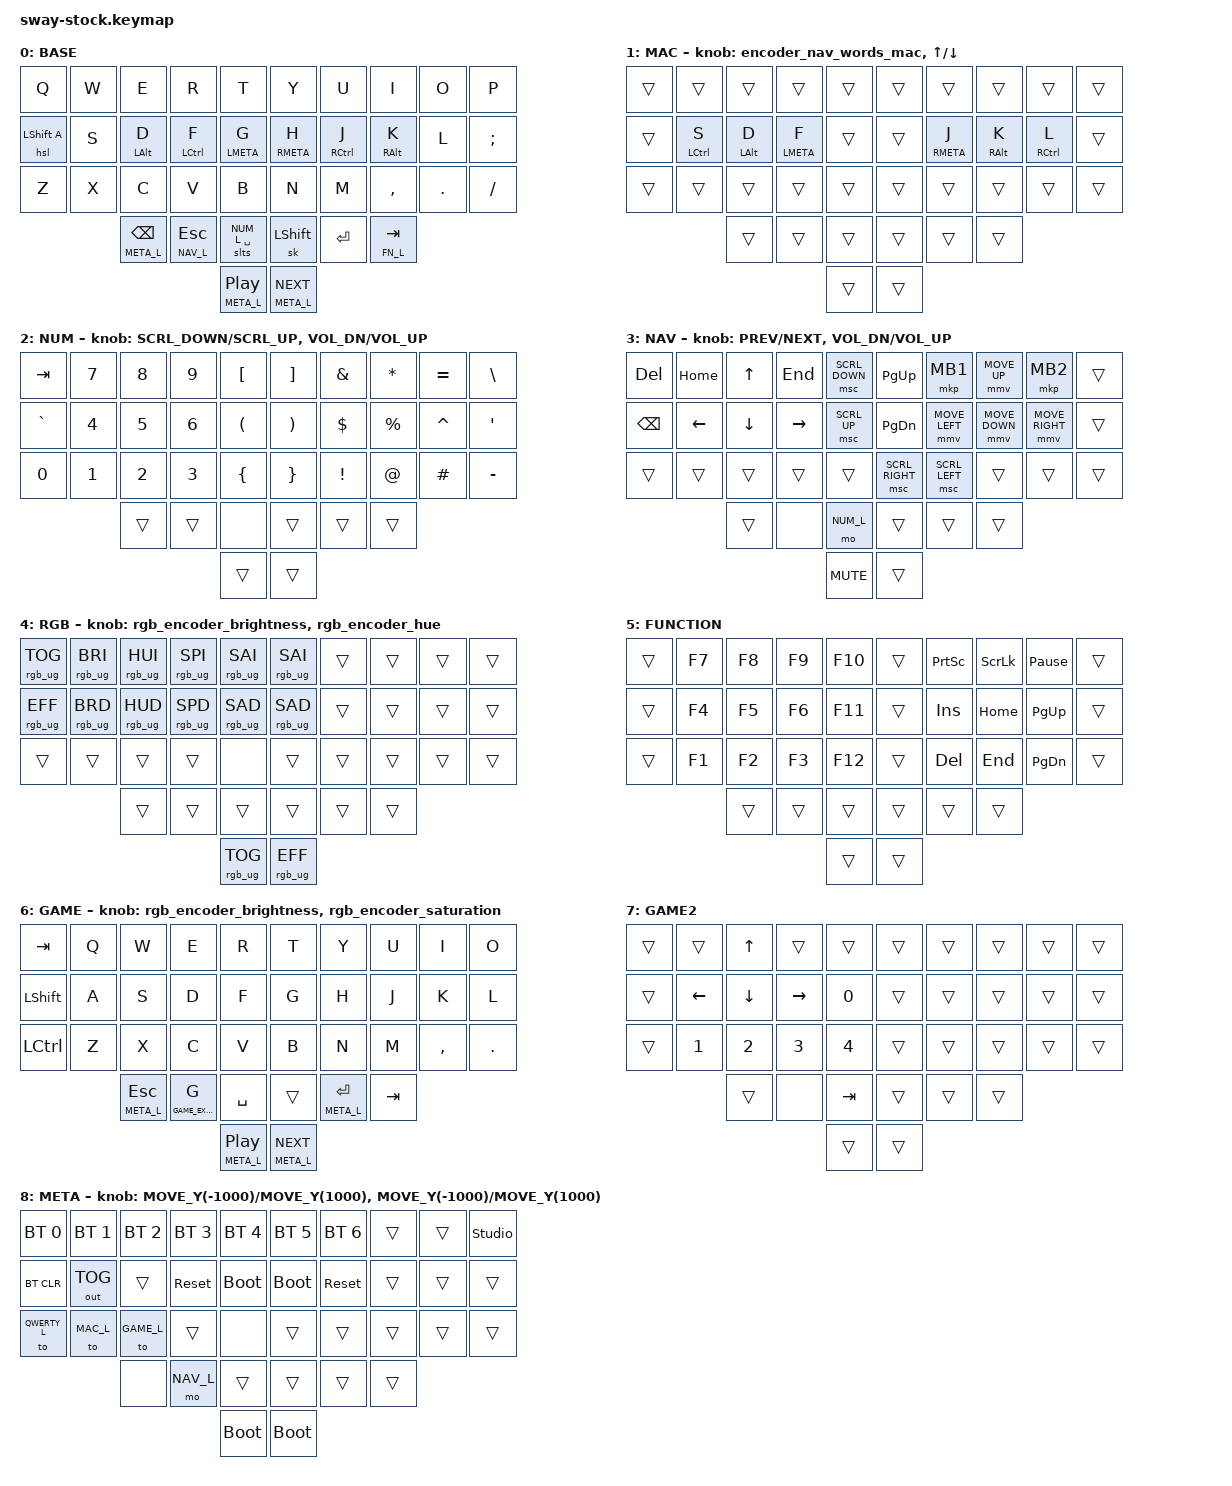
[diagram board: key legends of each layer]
#define ZMK_POINTING_DEFAULT_MOVE_VAL 1000  // default: 600
#define ZMK_POINTING_DEFAULT_SCRL_VAL 2000    // default: 10
#include <dt-bindings/zmk/pointing.h>

#define QWERTY_L                 0
#define MAC_L                    1
#define NUM_L                    2
#define NAV_L                    3

#define RGB_L                    4
#define FN_L                     5

#define GAME_L                   6
#define GAME_EXT_L               7

#define META_L                   8

#include "includes.dtsi"
#include "common.dtsi"

/ {
   keymap {
    compatible = "zmk,keymap";

    QWERTY_L {
        display-name = "BASE";
        bindings = <
// ┌─────────┬─────────┬─────────┬────────┬──────┐    ┌────────┬────────┬─────────┬─────────┬──────┐
   &kp Q    &kp W    &kp E    &kp R   &kp T      &kp Y   &kp U   &kp I   &kp O     &kp P
// │─────────┼─────────┼─────────┼────────┼──────┤    │────────┼────────┼─────────┼─────────┼──────┤
   &hsl LSHIFT A    &kp S    &bhm LALT D    &bhm LCTRL F   &bhm LMETA G      &bhm RMETA H   &bhm RCTRL J   &bhm RALT K   &kp L     &kp SEMI
// │─────────┼─────────┼─────────┼────────┼──────┤    │────────│────────┼────────┼─────────┼───────┤
   &kp Z    &kp X    &kp C    &kp V   &kp B      &kp N   &kp M   &kp COMMA   &kp DOT    &kp SLASH  
// └─────────┴─────────┼─────────┼────────┼──────┤    │────────│────────┼────────┼─────────┴───────┘
                          &lt META_L BSPC     &lt NAV_L ESC    &slts NUM_L SPACE  &sk LSHIFT  &kp RET &lt FN_L TAB      
//                     └─────────┴────────┴──────┘    └────────┴────────┴────────┘
                        &lt META_L C_PLAY_PAUSE    &lt META_L C_NEXT 

      
        >;
    };

    MAC_L {
        sensor-bindings = <&encoder_nav_words_mac>, <&inc_dec_kp UP DOWN>;

        display-name = "MAC";
        bindings = <
// ┌────────┬────────────┬────────────────┬────────────┬─────┐    ┌────────────┬───────────────────┬────────────┬────────────┬──────┐
   &trans   &trans       &trans           &trans       &trans     &trans       &trans              &trans       &trans       &trans 
// │────────┼────────────┼────────────────┼────────────┼─────┤    │────────────┼───────────────────┼────────────┼────────────┼──────┤
   &trans   &bhm LCTRL S &bhm LEFT_ALT D  &bhm LMETA F &trans     &trans       &bhm RMETA J        &bhm RALT K  &bhm RCTRL L &trans 
// │────────┼────────────┼────────────────┼────────────┼─────┤    │────────────┼───────────────────┼────────────┼────────────┼──────┤
   &trans   &trans       &trans           &trans       &trans     &trans       &trans              &trans       &trans       &trans 
// └────────┴────────────┼────────────────┼────────────┼─────┤    │────────────┼───────────────────┼────────────┴────────────┴──────┘
                         &trans           &trans       &trans     &trans       &trans  &trans
//                       └────────────────┴────────────┴─────┘    └────────────┴───────────────────┴────┘
                                                        &trans    &trans
        >;
    };

    NUM_L {
        display-name = "NUM";
        sensor-bindings = <&scroll_mouse_move_encoder SCRL_DOWN SCRL_UP>, <&inc_dec_kp C_VOL_DN C_VOL_UP>;


        bindings = <
// ┌─────────┬──────┬──────┬──────┬──────┐              ┌──────────┬────────┬─────────┬─────────┬──────┐
   &kp TAB    &kp N7 &kp N8 &kp N9 &kp LEFT_BRACKET     &kp RIGHT_BRACKET     &kp AMPS &kp STAR  &kp EQUAL    &kp BACKSLASH    // used to be just '
// │─────────┼──────┼──────┼──────┼──────┤              │──────────┼────────┼─────────┼─────────┼──────┤
   &kp GRAVE &kp N4 &kp N5 &kp N6 &kp LPAR              &kp RPAR     &kp DLLR &kp PRCNT &kp CARET &kp SINGLE_QUOTE // used to be just "
// │─────────┼──────┼──────┼──────┼──────┤              │──────────┼────────┼─────────┼─────────┼──────┤
   &kp N0  &kp N1 &kp N2 &kp N3   &kp LEFT_BRACE           &kp RIGHT_BRACE     &kp EXCL &kp AT    &kp HASH  &kp MINUS    // used to be backslash
// └─────────┴──────┴──────┼──────┼──────┤              │──────────┼────────┼─────────┴─────────┴──────┘
                    &trans &trans &none                &trans    &trans   &trans    
//                  └──────┴──────┴────┘                └──────────┴────────┴─────────┘
                                        &trans     &trans
         >;
    };

    NAV_L {
        display-name = "NAV";
        sensor-bindings = <&inc_dec_kp C_PREV C_NEXT>, <&inc_dec_kp C_VOL_DN C_VOL_UP>;
        bindings = <
// ┌────────────┬──────────┬────────┬──────────┬─────────────┐     ┌────────────────┬───────────────┬───────────────┬────────────────┬───────────┐
   &kp DELETE   &kp HOME   &kp UP   &kp END    &msc SCRL_DOWN      &kp PAGE_UP      &mkp MB1        &mmv MOVE_UP    &mkp MB2         &trans 
// │────────────┼──────────┼────────┼──────────┼─────────────┤     │────────────────┼───────────────┼───────────────┼────────────────┼───────────┤
   &kp BSPC     &kp LEFT   &kp DOWN &kp RIGHT  &msc SCRL_UP        &kp PAGE_DOWN    &mmv MOVE_LEFT  &mmv MOVE_DOWN  &mmv MOVE_RIGHT  &trans
// │────────────┼──────────┼────────┼──────────┼─────────────┤     │────────────────┼───────────────┼───────────────┼────────────────┼───────────┤
   &trans       &trans     &trans   &trans     &trans              &msc SCRL_RIGHT  &msc SCRL_LEFT  &trans          &trans           &trans
// └────────────┴──────────┼────────┼──────────┼─────────────┤     │────────────────│───────────────┼───────────────┼────────────────┴───────────┘
                           &trans   &none     &mo NUM_L              &trans   &trans           &trans
//                         └────────┴──────────┴─────────────┘     └────────────────┴───────────────┴───────────────┘
                &kp K_MUTE &trans
        >;
    };

    RGB_L {
        display-name = "RGB";
        sensor-bindings = <&rgb_encoder_brightness>, <&rgb_encoder_hue>;
        bindings = <
// ┌────────────────┬────────────────┬────────────────┬────────────────┬─────────────┐                     ┌────────────────┬───────┬───────┬───────┬─────┐
   &rgb_ug RGB_TOG  &rgb_ug RGB_BRI  &rgb_ug RGB_HUI  &rgb_ug RGB_SPI  &rgb_ug RGB_SAI                              &rgb_ug RGB_SAI  &trans  &trans  &trans  &trans
// │────────────────┼────────────────┼────────────────┼────────────────┼─────────────┤                     │────────────────┼───────┼───────┼───────┼─────┤
   &rgb_ug RGB_EFF  &rgb_ug RGB_BRD  &rgb_ug RGB_HUD  &rgb_ug RGB_SPD  &rgb_ug RGB_SAD                               &rgb_ug RGB_SAD  &trans  &trans  &trans  &trans
// │────────────────┼────────────────┼────────────────┼────────────────┼─────────────┤                     │────────────────┼───────┼───────┼───────┼─────┤
   &trans           &trans           &trans           &trans           &none                               &trans           &trans  &trans  &trans  &trans
// └────────────────┴────────────────┴────────────────┼────────────────┤─────────────┤                     │────────────────┼───────┼───────┴───────┴─────┘ 
                                     &trans           &trans           &trans                              &trans           &trans  &trans  
//                                   └────────────────┴────────────────┴─────────────┘                     └────────────────┴───────┴───────┘
            &rgb_ug RGB_TOG &rgb_ug RGB_EFF
        >;
    };



    FN_L {
        display-name = "FUNCTION";
        bindings = <
// ┌──────┬──────┬──────┬──────┬─────┐   ┌──────┬─────────┬─────────┬───────────────┬─────┐
   &trans &kp F7 &kp F8 &kp F9 &kp F10   &trans &kp PSCRN &kp SLCK  &kp PAUSE_BREAK &trans
// │──────┼──────┼──────┼──────┼─────┤   │──────┼─────────┼─────────┼───────────────┼─────┤
   &trans &kp F4 &kp F5 &kp F6 &kp F11   &trans &kp INS   &kp HOME  &kp PAGE_UP     &trans
// │──────┼──────┼──────┼──────┼─────┤   │──────┼─────────┼─────────┼───────────────┼─────┤
   &trans &kp F1 &kp F2 &kp F3 &kp F12   &trans &kp DEL   &kp END   &kp PAGE_DOWN   &trans
// └──────┴──────┴──────┼──────┤─────┤   │──────┼─────────┼─────────┴───────────────┴─────┘ 
                 &trans &trans &trans    &trans &trans    &trans    
//               └──────┴──────┴─────┘   └──────┴─────────┴─────────┘
                                &trans &trans
            >;
    };

        GAME_L {
            sensor-bindings = <&rgb_encoder_brightness>, <&rgb_encoder_saturation>;

            display-name = "GAME";
            bindings = <
// ┌──────────┬──────┬────────────────┬──────────────────────────┬────────┐    ┌──────────┬──────┬─────────┬─────────┬─────┐           
   &kp TAB    &kp Q  &kp W           &kp E                      &kp R         &kp T     &kp Y   &kp U     &kp I     &kp O
// │──────────┼──────┼───────────────┼──────────────────────────┼────────┤    │─────────┼───────┼─────────┼─────────┼─────┤
   &kp LSHIFT &kp A  &kp S           &kp D                      &kp F         &kp G     &kp H   &kp J     &kp K     &kp L
// │──────────┼──────┼───────────────┼──────────────────────────┼────────┤    │─────────┼───────┼─────────┼─────────┼─────┤
   &kp LCTRL  &kp Z  &kp X           &kp C                      &kp V         &kp B     &kp N   &kp M &kp COMMA   &kp DOT
// └──────────┴──────┼───────────────┼──────────────────────────┤────────┤    │─────────┼───────┼─────────┴─────────┴─────┘ 
                     &lt META_L ESC  &lt GAME_EXT_L G           &kp SPACE     &trans   &lt META_L RET &kp TAB    
//                   └───────────────┴──────────────────────────┴────────┘    └─────────┴───────┴─────────┘
                                                    &lt META_L C_PLAY_PAUSE    &lt META_L C_NEXT 
                                                         
        >;
    };

    GAME_EXT_L {
        display-name = "GAME2";
        bindings = <
// ┌────────┬─────────┬─────────┬─────────┬─────┐                 ┌───────┬───────┬──────┬──────┬───┐
   &trans    &trans    &kp UP    &trans     &trans                  &trans  &trans  &trans &trans &trans
// │────────┼─────────┼─────────┼─────────┼─────┤                 │───────┼───────┼──────┼──────┼───┤
   &trans    &kp LEFT  &kp DOWN  &kp RIGHT &kp N0                  &trans  &trans  &trans &trans &trans
// │────────┼─────────┼─────────┼─────────┼─────┤─────┤   │───────┼───────┼──────┼──────┼───┤
   &trans    &kp N1    &kp N2    &kp N3     &kp N4                   &trans  &trans  &trans &trans &trans
// └────────┴─────────┴─────────┼─────────┤─────┤─────┤   │───────┼───────┼──────┴──────┴───┘ 
                      &trans    &none     &kp TAB            &trans  &trans  &trans 
//                    └─────────┴─────────┴─────┘                 └───────┴───────┴──────┘
            &trans &trans
        >;
    };

        META_L {
            display-name = "META";
            sensor-bindings = <&inc_dec_kp MOVE_Y(-1000) MOVE_Y(1000)>, <&inc_dec_kp MOVE_Y(-1000) MOVE_Y(1000)>;
            bindings = <
// ┌────────────┬──────────────┬─────────────┬────────────────┬───────────┐   ┌──────┬──────┬──────┬──────┬───┐
   &bt BT_SEL 0 &bt BT_SEL 1   &bt BT_SEL 2  &bt BT_SEL 3     &bt BT_SEL 4    &bt BT_SEL 5  &bt BT_SEL 6 &trans &trans &studio_unlock
// │────────────┼──────────────┼─────────────┼────────────────┼───────────┤   │──────┼──────┼──────┼──────┼───┤
   &bt BT_CLR   &out OUT_TOG   &trans        &sys_reset       &bootloader     &bootloader &sys_reset &trans &trans &trans
// │────────────┼──────────────┼─────────────┼────────────────┼───────────┤   │──────┼──────┼──────┼──────┼───┤
   &to QWERTY_L   &to MAC_L      &to GAME_L    &trans           &none           &trans &trans &trans &trans &trans
// └────────────┴──────────────┴─────────────┼────────────────┤───────────┤   │──────┼──────┼──────┴──────┴───┘ 
                         &none        &mo NAV_L       &trans                    &trans &trans &trans
//                             └─────────────┴────────────────┴───────────┘   └──────┴──────┴──────┘
                                                                &bootloader &bootloader
            >;
        };

//       sensor-bindings = <&inc_dec_kp C_VOL_UP C_VOL_DN>;
// // ┌─────────┬─────────┬─────────┬────────┬──────┐    ┌────────┬────────┬─────────┬─────────┬──────┐
//    &trans    &trans    &trans    &trans   &trans      &trans   &trans   &trans   &trans     &trans
// // │─────────┼─────────┼─────────┼────────┼──────┤    │────────┼────────┼─────────┼─────────┼──────┤
//    &trans    &trans    &trans    &trans   &trans      &trans   &trans   &trans   &trans     &trans
// // │─────────┼─────────┼─────────┼────────┼──────┤    │────────│────────┼────────┼─────────┼───────┤
//    &trans    &trans    &trans    &trans   &trans      &trans   &trans   &trans   &trans    &trans    
// // └─────────┴─────────┼─────────┼────────┼──────┤    │────────│────────┼────────┼─────────┴───────┘
//                        &trans    &trans   &trans      &trans   &trans   &trans   
// //                     └─────────┴────────┴──────┘    └────────┴────────┴────────┘
//                                             &trans      &trans
    };

};
